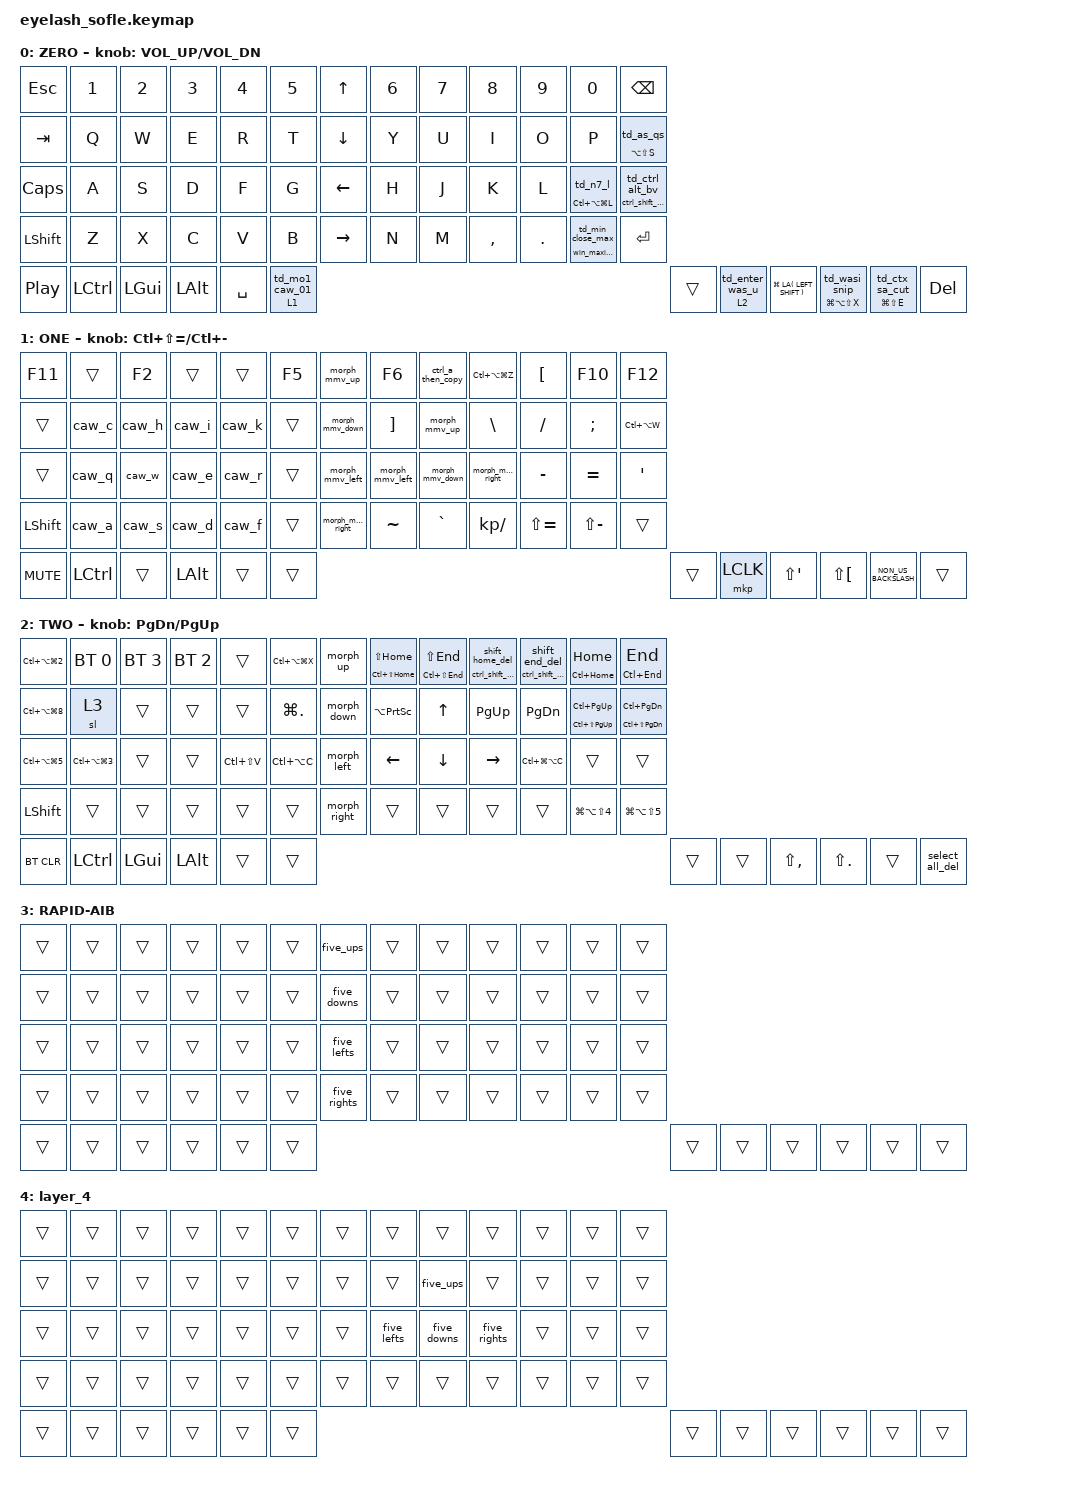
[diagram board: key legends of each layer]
#define ZMK_POINTING_DEFAULT_MOVE_VAL 180   // 85% slower (15% of original 1200)
#define ZMK_POINTING_DEFAULT_SCRL_VAL 25   // 10

// Fixed "quick jump" distance (relative mouse pixels per tap).
// Used when Control is held on the `morph_mmv_*` keys.
// NOTE: `&mmv` takes a single packed uint32: X in high 16 bits, Y in low 16 bits (signed).
// Maximum safe value per axis: ±32767 (signed 16-bit range).
// Doubled from 25000 to 50000, but capped at maximum safe value.
#define ZMK_POINTING_QUICK_JUMP_VAL 32767
// Properly encode signed 16-bit values: mask to 16 bits, then shift for X axis
#define QUICK_JUMP_UP    ((-ZMK_POINTING_QUICK_JUMP_VAL) & 0xFFFF)
#define QUICK_JUMP_DOWN  (( ZMK_POINTING_QUICK_JUMP_VAL) & 0xFFFF)
#define QUICK_JUMP_LEFT  ((((-ZMK_POINTING_QUICK_JUMP_VAL) & 0xFFFF) << 16))
#define QUICK_JUMP_RIGHT (((( ZMK_POINTING_QUICK_JUMP_VAL) & 0xFFFF) << 16))

// Removed: #include <zmk/input/processors.dtsi> - file not found in this ZMK version
// Testing if zip_xy_scaler and zip_scroll_scaler are available without the include
#include <zephyr/dt-bindings/input/input-event-codes.h>
#include <behaviors.dtsi>
#include <dt-bindings/zmk/bt.h>
#include <dt-bindings/zmk/ext_power.h>
#include <dt-bindings/zmk/keys.h>
#include <dt-bindings/zmk/pointing.h>
#include <dt-bindings/zmk/rgb.h>
#include <dt-bindings/zmk/outputs.h>
#include <dt-bindings/zmk/modifiers.h>

// Commented out - mmv_input_listener and msc_input_listener not defined in this ZMK version
// These were defined in input/processors.dtsi which is not available
// &mmv_input_listener { input-processors = <&zip_xy_scaler 2 1>; };
// &msc_input_listener { input-processors = <&zip_scroll_scaler 2 1>; };

// Commented out - &msc node depends on pointing behaviors not available in this ZMK version
// Keeping this enabled causes: undefined node label 'msc' during devicetree processing
// &msc {
//     acceleration-exponent = <1>;      // 0
//     time-to-max-speed-ms = <100>;       // 300
//     delay-ms = <0>;                   // 0
// };

&mmv {
    time-to-max-speed-ms = <500>;
    acceleration-exponent = <1>;
    trigger-period-ms = <16>;
};

/* Sticky layer: rapid directional (AIB) “modifier” — not Alt/Ctrl/Win; uses layer stack only. */
&sl {
    release-after-ms = <2000>;
};

/ {
    macros {
    };

    /* When layer 2 (nav) and sticky layer 3 (rapid) are both on, layer 4 adds 5× arrows on
     * layer-2-only arrow positions without breaking base layer (e.g. U at row1 col8). */
    conditional_layers {
        compatible = "zmk,conditional-layers";
        rapid_nav_l2_l3 {
            if-layers = <2 3>;
            then-layer = <4>;
        };
    };

    behaviors {
        five_rights: five_rights {
            compatible = "zmk,behavior-macro";
            #binding-cells = <0>;
            wait-ms = <8>;       // Gap between key events (was 30 ms)
            tap-ms = <8>;        // Key hold per tap
            bindings = <&kp RIGHT_ARROW &kp RIGHT_ARROW &kp RIGHT_ARROW &kp RIGHT_ARROW &kp RIGHT_ARROW>;
        };

        five_downs: five_downs {
            compatible = "zmk,behavior-macro";
            #binding-cells = <0>;
            wait-ms = <8>;
            tap-ms = <8>;
            bindings = <&kp DOWN_ARROW &kp DOWN_ARROW &kp DOWN_ARROW &kp DOWN_ARROW &kp DOWN_ARROW>;
        };

        five_ups: five_ups {
            compatible = "zmk,behavior-macro";
            #binding-cells = <0>;
            wait-ms = <8>;
            tap-ms = <8>;
            bindings = <&kp UP_ARROW &kp UP_ARROW &kp UP_ARROW &kp UP_ARROW &kp UP_ARROW>;
        };

        five_lefts: five_lefts {
            compatible = "zmk,behavior-macro";
            #binding-cells = <0>;
            wait-ms = <8>;
            tap-ms = <8>;
            bindings = <&kp LEFT_ARROW &kp LEFT_ARROW &kp LEFT_ARROW &kp LEFT_ARROW &kp LEFT_ARROW>;
        };

        ctrl_five_rights: ctrl_five_rights {
            compatible = "zmk,behavior-macro";
            #binding-cells = <0>;
            wait-ms = <8>;
            tap-ms = <8>;
            bindings =
                <&macro_press &kp LCTRL>,
                <&macro_tap &kp RIGHT_ARROW>,
                <&macro_tap &kp RIGHT_ARROW>,
                <&macro_tap &kp RIGHT_ARROW>,
                <&macro_tap &kp RIGHT_ARROW>,
                <&macro_tap &kp RIGHT_ARROW>,
                <&macro_release &kp LCTRL>;
        };

        ctrl_five_lefts: ctrl_five_lefts {
            compatible = "zmk,behavior-macro";
            #binding-cells = <0>;
            wait-ms = <8>;
            tap-ms = <8>;
            bindings =
                <&macro_press &kp LCTRL>,
                <&macro_tap &kp LEFT_ARROW>,
                <&macro_tap &kp LEFT_ARROW>,
                <&macro_tap &kp LEFT_ARROW>,
                <&macro_tap &kp LEFT_ARROW>,
                <&macro_tap &kp LEFT_ARROW>,
                <&macro_release &kp LCTRL>;
        };

        win_alt_shift_comma: win_alt_shift_comma {
            compatible = "zmk,behavior-macro";
            #binding-cells = <0>;
            wait-ms = <30>;
            tap-ms = <30>;
            bindings = <&kp LG(LA(LS(COMMA)))>;
        };

        win_alt_shift_n: win_alt_shift_n {
            compatible = "zmk,behavior-macro";
            #binding-cells = <0>;
            wait-ms = <30>;
            tap-ms = <30>;
            bindings = <&kp LG(LA(LS(N)))>;
        };

        // ht_was1_cabv_td: macro wrappers avoid bare B/V leaking from &kp modifier chords
        was1_tap: was1_tap {
            compatible = "zmk,behavior-macro";
            #binding-cells = <0>;
            wait-ms = <30>;
            tap-ms = <30>;
            bindings = <&kp LG(LA(LS(N1)))>;
        };

        ctrl_alt_b_tap: ctrl_alt_b_tap {
            compatible = "zmk,behavior-macro";
            #binding-cells = <0>;
            wait-ms = <30>;
            tap-ms = <30>;
            bindings =
                <&macro_press &kp LCTRL>,
                <&macro_press &kp LALT>,
                <&macro_tap &kp B>,
                <&macro_release &kp LALT>,
                <&macro_release &kp LCTRL>;
        };

        ctrl_alt_v_tap: ctrl_alt_v_tap {
            compatible = "zmk,behavior-macro";
            #binding-cells = <0>;
            wait-ms = <30>;
            tap-ms = <30>;
            bindings =
                <&macro_press &kp LCTRL>,
                <&macro_press &kp LALT>,
                <&macro_tap &kp V>,
                <&macro_release &kp LALT>,
                <&macro_release &kp LCTRL>;
        };

        ctrl_shift_v_hold: ctrl_shift_v_hold {
            compatible = "zmk,behavior-macro";
            #binding-cells = <0>;
            wait-ms = <30>;
            tap-ms = <30>;
            bindings =
                <&macro_press &kp LCTRL>,
                <&macro_press &kp LSHIFT>,
                <&macro_tap &kp V>,
                <&macro_release &kp LSHIFT>,
                <&macro_release &kp LCTRL>;
        };

        // Windows+Alt+Shift+Arrow macros for Control-modified mouse movement
        was_up: was_up {
            compatible = "zmk,behavior-macro";
            #binding-cells = <0>;
            wait-ms = <30>;
            tap-ms = <30>;
            bindings = <&kp LG(LA(LS(UP_ARROW)))>;
        };

        was_down: was_down {
            compatible = "zmk,behavior-macro";
            #binding-cells = <0>;
            wait-ms = <30>;
            tap-ms = <30>;
            bindings = <&kp LG(LA(LS(DOWN_ARROW)))>;
        };

        was_left: was_left {
            compatible = "zmk,behavior-macro";
            #binding-cells = <0>;
            wait-ms = <30>;
            tap-ms = <30>;
            bindings = <&kp LG(LA(LS(LEFT_ARROW)))>;
        };

        was_right: was_right {
            compatible = "zmk,behavior-macro";
            #binding-cells = <0>;
            wait-ms = <30>;
            tap-ms = <30>;
            bindings = <&kp LG(LA(LS(RIGHT_ARROW)))>;
        };

        ctrl_shift_home_del: ctrl_shift_home_del {
            compatible = "zmk,behavior-macro";
            #binding-cells = <0>;
            wait-ms = <30>;
            tap-ms = <30>;
            bindings = <&kp LC(LS(HOME)) &kp DELETE>;
        };

        ctrl_shift_end_del: ctrl_shift_end_del {
            compatible = "zmk,behavior-macro";
            #binding-cells = <0>;
            wait-ms = <30>;
            tap-ms = <30>;
            bindings = <&kp LC(LS(END)) &kp DELETE>;
        };

        shift_home_del: shift_home_del {
            compatible = "zmk,behavior-macro";
            #binding-cells = <0>;
            wait-ms = <30>;
            tap-ms = <30>;
            bindings = <&kp LS(HOME) &kp DELETE>;
        };

        shift_end_del: shift_end_del {
            compatible = "zmk,behavior-macro";
            #binding-cells = <0>;
            wait-ms = <30>;
            tap-ms = <30>;
            bindings = <&kp LS(END) &kp DELETE>;
        };

        select_all_copy: select_all_copy {
            compatible = "zmk,behavior-macro";
            #binding-cells = <0>;
            label = "SACPY";
            wait-ms = <20>;
            tap-ms = <20>;
            bindings = <&kp LC(A) &kp LC(C)>;
        };

        select_all_cut: select_all_cut {
            compatible = "zmk,behavior-macro";
            #binding-cells = <0>;
            label = "SAX";
            wait-ms = <20>;
            tap-ms = <20>;
            bindings = <&kp LC(A) &kp LC(X)>;
        };

        select_all_del: select_all_del {
            compatible = "zmk,behavior-macro";
            #binding-cells = <0>;
            label = "SADEL";
            wait-ms = <20>;
            tap-ms = <20>;
            bindings = <&kp LC(A) &kp DELETE>;
        };

        /* Mod-morph versions of the 5× arrow macros.
         * No Ctrl held  → 5× LEFT/RIGHT
         * Ctrl held     → Ctrl+5× LEFT/RIGHT
         */

        morph_left: morph_left {
            compatible = "zmk,behavior-mod-morph";
            #binding-cells = <0>;
            bindings = <&five_lefts>, <&five_lefts>;
            mods = <(MOD_LCTL | MOD_RCTL)>;
            keep-mods = <(MOD_LCTL | MOD_RCTL)>;
        };

        morph_right: morph_right {
            compatible = "zmk,behavior-mod-morph";
            #binding-cells = <0>;
            bindings = <&five_rights>, <&five_rights>;
            mods = <(MOD_LCTL | MOD_RCTL)>;
            keep-mods = <(MOD_LCTL | MOD_RCTL)>;
        };

        morph_up: morph_up {
            compatible = "zmk,behavior-mod-morph";
            #binding-cells = <0>;
            bindings = <&five_ups>, <&kp C_NEXT>;
            mods = <(MOD_LCTL | MOD_RCTL)>;
        };

        morph_down: morph_down {
            compatible = "zmk,behavior-mod-morph";
            #binding-cells = <0>;
            bindings = <&five_downs>, <&kp C_PREV>;
            mods = <(MOD_LCTL | MOD_RCTL)>;
        };

        /* Mod-morph for mouse movement keys in layer 1.
         * No Shift held  → mouse movement
         * Shift held     → Windows+Alt+Shift+ArrowKey
         */

        /* One-shot mouse "quick jump" macros (used by the Ctrl morph below). */
        jump_mmv_up: jump_mmv_up {
            compatible = "zmk,behavior-macro";
            #binding-cells = <0>;
            tap-ms = <60>;
            bindings = <&mmv QUICK_JUMP_UP>;
        };

        jump_mmv_down: jump_mmv_down {
            compatible = "zmk,behavior-macro";
            #binding-cells = <0>;
            tap-ms = <60>;
            bindings = <&mmv QUICK_JUMP_DOWN>;
        };

        jump_mmv_left: jump_mmv_left {
            compatible = "zmk,behavior-macro";
            #binding-cells = <0>;
            tap-ms = <60>;
            bindings = <&mmv QUICK_JUMP_LEFT>;
        };

        jump_mmv_right: jump_mmv_right {
            compatible = "zmk,behavior-macro";
            #binding-cells = <0>;
            tap-ms = <60>;
            bindings = <&mmv QUICK_JUMP_RIGHT>;
        };

        /* Ctrl-aware morph used as the "no-Shift" branch:
         * - No Ctrl held  → continuous mouse movement
         * - Ctrl held     → one-shot large pixel jump
         */
        morph_mmv_up_ctrl: morph_mmv_up_ctrl {
            compatible = "zmk,behavior-mod-morph";
            #binding-cells = <0>;
            bindings = <&mmv MOVE_UP>, <&jump_mmv_up>;
            mods = <(MOD_LCTL | MOD_RCTL)>;
            keep-mods = <(MOD_LCTL | MOD_RCTL)>;
        };

        morph_mmv_down_ctrl: morph_mmv_down_ctrl {
            compatible = "zmk,behavior-mod-morph";
            #binding-cells = <0>;
            bindings = <&mmv MOVE_DOWN>, <&jump_mmv_down>;
            mods = <(MOD_LCTL | MOD_RCTL)>;
            keep-mods = <(MOD_LCTL | MOD_RCTL)>;
        };

        morph_mmv_left_ctrl: morph_mmv_left_ctrl {
            compatible = "zmk,behavior-mod-morph";
            #binding-cells = <0>;
            bindings = <&mmv MOVE_LEFT>, <&jump_mmv_left>;
            mods = <(MOD_LCTL | MOD_RCTL)>;
            keep-mods = <(MOD_LCTL | MOD_RCTL)>;
        };

        morph_mmv_right_ctrl: morph_mmv_right_ctrl {
            compatible = "zmk,behavior-mod-morph";
            #binding-cells = <0>;
            bindings = <&mmv MOVE_RIGHT>, <&jump_mmv_right>;
            mods = <(MOD_LCTL | MOD_RCTL)>;
            keep-mods = <(MOD_LCTL | MOD_RCTL)>;
        };

        morph_mmv_up: morph_mmv_up {
            compatible = "zmk,behavior-mod-morph";
            #binding-cells = <0>;
            bindings = <&morph_mmv_up_ctrl>, <&was_up>;
            mods = <(MOD_LSFT | MOD_RSFT)>;
        };

        morph_mmv_down: morph_mmv_down {
            compatible = "zmk,behavior-mod-morph";
            #binding-cells = <0>;
            bindings = <&morph_mmv_down_ctrl>, <&was_down>;
            mods = <(MOD_LSFT | MOD_RSFT)>;
        };

        morph_mmv_left: morph_mmv_left {
            compatible = "zmk,behavior-mod-morph";
            #binding-cells = <0>;
            bindings = <&morph_mmv_left_ctrl>, <&was_left>;
            mods = <(MOD_LSFT | MOD_RSFT)>;
        };

        morph_mmv_right: morph_mmv_right {
            compatible = "zmk,behavior-mod-morph";
            #binding-cells = <0>;
            bindings = <&morph_mmv_right_ctrl>, <&was_right>;
            mods = <(MOD_LSFT | MOD_RSFT)>;
        };

        prev_win: prev_win {
                compatible = "zmk,behavior-macro";
                #binding-cells = <0>;
                label = "PREV_WIN";
                bindings = <&kp LA(TAB)>;
            };
    
        second_prev_win: second_prev_win {
                compatible = "zmk,behavior-macro";
                #binding-cells = <0>;
                label = "SEC_PREV_WIN";
                wait-ms = <30>;
                tap-ms = <30>;
                bindings =
                    <&macro_press &kp LALT>,
                    <&macro_tap &kp TAB>,
                    <&macro_tap &kp TAB>,
                    <&macro_release &kp LALT>;
        };

        meh_press: meh_press {
            compatible = "zmk,behavior-macro";
            #binding-cells = <0>;
            bindings = <&macro_press &kp LCTRL
                        &macro_press &kp LALT
                        &macro_press &kp LSHIFT>;
        };

        caw_press: caw_press {
            compatible = "zmk,behavior-macro";
            #binding-cells = <0>;
            bindings = <&macro_press &kp LCTRL
                        &macro_press &kp LALT
                        &macro_press &kp LGUI>;
        };

        meh_release: meh_release {
            compatible = "zmk,behavior-macro";
            #binding-cells = <0>;
            bindings = <&macro_release &kp LCTRL
                        &macro_release &kp LALT
                        &macro_release &kp LSHIFT>;
        };

        caw_release: caw_release {
            compatible = "zmk,behavior-macro";
            #binding-cells = <0>;
            bindings = <&macro_release &kp LCTRL
                        &macro_release &kp LALT
                        &macro_release &kp LGUI>;
        };

        meh_a: meh_a {
            compatible = "zmk,behavior-macro";
            #binding-cells = <0>;
            label = "MEH_A";
            bindings = <&meh_press &macro_tap &kp A &meh_release>;
        };

        meh_s: meh_s {
            compatible = "zmk,behavior-macro";
            #binding-cells = <0>;
            label = "MEH_S";
            bindings = <&meh_press &macro_tap &kp S &meh_release>;
        };

        meh_d: meh_d {
            compatible = "zmk,behavior-macro";
            #binding-cells = <0>;
            label = "MEH_D";
            bindings = <&meh_press &macro_tap &kp D &meh_release>;
        };

        meh_f: meh_f {
            compatible = "zmk,behavior-macro";
            #binding-cells = <0>;
            label = "MEH_F";
            bindings = <&meh_press &macro_tap &kp F &meh_release>;
        };

        caw_a: caw_a {
            compatible = "zmk,behavior-macro";
            #binding-cells = <0>;
            label = "CAW_A";
            bindings = <&caw_press &macro_tap &kp A &caw_release>;
        };

        caw_s: caw_s {
            compatible = "zmk,behavior-macro";
            #binding-cells = <0>;
            label = "CAW_S";
            bindings = <&caw_press &macro_tap &kp S &caw_release>;
        };

        caw_d: caw_d {
            compatible = "zmk,behavior-macro";
            #binding-cells = <0>;
            label = "CAW_D";
            bindings = <&caw_press &macro_tap &kp D &caw_release>;
        };

        caw_f: caw_f {
            compatible = "zmk,behavior-macro";
            #binding-cells = <0>;
            label = "CAW_F";
            bindings = <&caw_press &macro_tap &kp F &caw_release>;
        };

        caw_q: caw_q {
            compatible = "zmk,behavior-macro";
            #binding-cells = <0>;
            label = "CAW_Q";
            bindings = <&caw_press &macro_tap &kp Q &caw_release>;
        };

        caw_w: caw_w {
            compatible = "zmk,behavior-macro";
            #binding-cells = <0>;
            label = "CAW_W";
            bindings = <&caw_press &macro_tap &kp W &caw_release>;
        };

        caw_e: caw_e {
            compatible = "zmk,behavior-macro";
            #binding-cells = <0>;
            label = "CAW_E";
            bindings = <&caw_press &macro_tap &kp E &caw_release>;
        };

        caw_r: caw_r {
            compatible = "zmk,behavior-macro";
            #binding-cells = <0>;
            label = "CAW_R";
            bindings = <&caw_press &macro_tap &kp R &caw_release>;
        };

        caw_c: caw_c {
            compatible = "zmk,behavior-macro";
            #binding-cells = <0>;
            label = "CAW_C";
            bindings =
                <&macro_tap &caw_q>,
                <&macro_wait_time 300>,
                <&macro_tap &kp LC(LA(LG(X)))>;
        };

        caw_h: caw_h {
            compatible = "zmk,behavior-macro";
            #binding-cells = <0>;
            label = "CAW_H";
            bindings =
                <&macro_tap &caw_w>,
                <&macro_wait_time 300>,
                <&macro_tap &kp LC(LA(LG(X)))>;
        };

        caw_i: caw_i {
            compatible = "zmk,behavior-macro";
            #binding-cells = <0>;
            label = "CAW_I";
            bindings =
                <&macro_tap &caw_e>,
                <&macro_wait_time 300>,
                <&macro_tap &kp LC(LA(LG(X)))>;
        };

        caw_k: caw_k {
            compatible = "zmk,behavior-macro";
            #binding-cells = <0>;
            label = "CAW_K";
            bindings =
                <&macro_tap &caw_r>,
                <&macro_wait_time 300>,
                <&macro_tap &kp LC(LA(LG(X)))>;
        };

        // Tap-dance: 1 tap = Win+Alt+Shift+N0, 2 taps = Ctrl+Alt+Win+4, 3 taps = Ctrl+Alt+Win+7
        td_n7_l: tap_dance_n7_l {
            compatible = "zmk,behavior-tap-dance";
            #binding-cells = <0>;
            tapping-term-ms = <400>;
            bindings = <&kp LG(LA(LS(N0)))>, <&kp LC(LA(LG(N4)))>, <&kp LC(LA(LG(N7)))>;
        };

        // Hold-tap: hold = Ctrl+Alt+Win+L, tap = tap-dance above
        ht_n0_td: hold_tap_n0_td {
            compatible = "zmk,behavior-hold-tap";
            #binding-cells = <2>;
            flavor = "tap-preferred";
            tapping-term-ms = <200>;
            bindings = <&kp>, <&td_n7_l>;
        };

        // Tap-dance: 1× Alt+Shift+Q, 2× Ctrl+Alt+Win+Y (PowerToys bookmarks), 3× Ctrl+Alt+Win+M
        td_as_qs: tap_dance_as_qs {
            compatible = "zmk,behavior-tap-dance";
            #binding-cells = <0>;
            tapping-term-ms = <400>;
            bindings = <&kp LA(LS(Q))>, <&kp LC(LA(LG(Y)))>, <&kp LC(LA(LG(M)))>;
        };

        // Hold-tap: hold = Alt+Shift+S, tap = tap-dance above
        ht_as_w_td: hold_tap_as_w_td {
            compatible = "zmk,behavior-hold-tap";
            #binding-cells = <2>;
            flavor = "tap-preferred";
            tapping-term-ms = <200>;
            bindings = <&kp>, <&td_as_qs>;
        };

        // Tap-dance: 1× prev_win, 2× second_prev_win
        td_prev_sw: tap_dance_prev_win {
            compatible = "zmk,behavior-tap-dance";
            #binding-cells = <0>;
            tapping-term-ms = <400>;
            bindings = <&prev_win>, <&second_prev_win>;
        };

        // Tap-dance: 1× win_alt_shift_comma, 2× win_alt_shift_n
        td_was_comma_n: tap_dance_was_comma_n {
            compatible = "zmk,behavior-tap-dance";
            #binding-cells = <0>;
            tapping-term-ms = <400>;
            bindings = <&win_alt_shift_comma>, <&win_alt_shift_n>;
        };

        // Tap-dance: 1× Win+Alt+Shift+1, 2× Ctrl+Alt+B, 3× Ctrl+Alt+V
        td_ctrl_alt_bv: tap_dance_ctrl_alt_bv {
            compatible = "zmk,behavior-tap-dance";
            #binding-cells = <0>;
            tapping-term-ms = <400>;
            bindings = <&was1_tap>, <&ctrl_alt_b_tap>, <&ctrl_alt_v_tap>;
        };

        // Hold-tap: hold = Ctrl+Shift+V, tap = tap-dance above
        ht_was1_cabv_td: hold_tap_was1_cabv {
            compatible = "zmk,behavior-hold-tap";
            #binding-cells = <2>;
            flavor = "tap-preferred";
            tapping-term-ms = <200>;
            bindings = <&ctrl_shift_v_hold>, <&td_ctrl_alt_bv>;
        };

        // Tap-dance: 1× context-menu, 2× Ctrl+Alt+Win+B, 3× Ctrl+Alt+Win+9
        td_ctx_sa_cut: tap_dance_ctx_sa_cut {
            compatible = "zmk,behavior-tap-dance";
            #binding-cells = <0>;
            tapping-term-ms = <400>;
            bindings = <&kp K_CONTEXT_MENU>, <&kp LC(LA(LG(B)))>, <&kp LC(LA(LG(N9)))>;
        };

        // Hold-tap: hold = LG(LS(E)), tap = td_ctx_sa_cut
        ht_lghome_ctx_td: hold_tap_lghome_ctx {
            compatible = "zmk,behavior-hold-tap";
            #binding-cells = <2>;
            flavor = "tap-preferred";
            tapping-term-ms = <200>;
            bindings = <&kp>, <&td_ctx_sa_cut>;
        };

        // Tap-dance: 1× Win+Alt+Shift+I, 2× Ctrl+Alt+Win+6, 3× Ctrl+Alt+Win+U
        td_wasi_snip: tap_dance_wasi_snip {
            compatible = "zmk,behavior-tap-dance";
            #binding-cells = <0>;
            tapping-term-ms = <400>;
            bindings = <&kp LG(LA(LS(I)))>, <&kp LC(LA(LG(N6)))>, <&kp LC(LA(LG(U)))>;
        };

        // Hold-tap: hold = Win+Alt+Shift+X, tap = td_wasi_snip
        ht_lgshfte_ps_td: hold_tap_lgshfte_ps {
            compatible = "zmk,behavior-hold-tap";
            #binding-cells = <2>;
            flavor = "tap-preferred";
            tapping-term-ms = <200>;
            bindings = <&kp>, <&td_wasi_snip>;
        };

        // Hold-tap: Shift+Home vs Ctrl+Shift+Home
        mt_cshome: modtap_cshome {
            compatible = "zmk,behavior-hold-tap";
            #binding-cells = <2>;
            flavor = "tap-preferred";
            tapping-term-ms = <200>;
            bindings = <&kp>, <&kp>; // use inline params
        };

        // Hold-tap: Shift+End vs Ctrl+Shift+End
        mt_csend: modtap_csend {
            compatible = "zmk,behavior-hold-tap";
            #binding-cells = <2>;
            flavor = "tap-preferred";
            tapping-term-ms = <200>;
            bindings = <&kp>, <&kp>;
        };

        // Hold-tap: Ctrl+Key when held, Key when tapped (generic)
        mt_ctrl: modtap_ctrl_generic {
            compatible = "zmk,behavior-hold-tap";
            #binding-cells = <2>;
            flavor = "tap-preferred";
            tapping-term-ms = <200>;
            bindings = <&kp>, <&kp>;
        };

        // Hold-tap macro versions
        ht_cshome_del: hold_tap_cshome_del {
            compatible = "zmk,behavior-hold-tap";
            #binding-cells = <2>;
            flavor = "tap-preferred";
            tapping-term-ms = <200>;
            bindings = <&ctrl_shift_home_del>, <&shift_home_del>;
        };

        ht_csend_del: hold_tap_csend_del {
            compatible = "zmk,behavior-hold-tap";
            #binding-cells = <2>;
            flavor = "tap-preferred";
            tapping-term-ms = <200>;
            bindings = <&ctrl_shift_end_del>, <&shift_end_del>;
        };

        // Hold-tap: hold = Win+Alt+Shift+6, tap = Alt+F4
        ht_was6_altf4: hold_tap_was6_altf4 {
            compatible = "zmk,behavior-hold-tap";
            #binding-cells = <2>;
            flavor = "tap-preferred";
            tapping-term-ms = <200>;
            bindings = <&kp>, <&kp>;   // keys supplied inline in keymap
        };

        // Tap-dance: 1× Windows + Alt + Shift + U, 2× Windows + H
        td_win_win_h: tap_dance_win_win_h {
            compatible = "zmk,behavior-tap-dance";
            #binding-cells = <0>;
            tapping-term-ms = <200>;
            bindings = <&kp LG(LA(LS(U)))>, <&kp LG(H)>;
        };

        // Hold-tap: hold = layer 2, tap = Windows tap-dance
        ht_mo2_win_td: hold_tap_mo2_win {
            compatible = "zmk,behavior-hold-tap";
            #binding-cells = <2>;
            flavor = "tap-preferred";
            tapping-term-ms = <200>;
            bindings = <&mo>, <&td_win_win_h>;
        };

        // Tap-dance: 1× Windows+Alt+Shift+U, 2× Windows+Alt+Shift+Y
        td_enter_was_u: tap_dance_enter_was_u {
            compatible = "zmk,behavior-tap-dance";
            #binding-cells = <0>;
            tapping-term-ms = <400>;
            bindings = <&kp LG(LA(LS(U)))>, <&kp LG(LA(LS(Y)))>;
        };

        // Hold-tap: hold = layer 2, tap = Windows+Alt+Shift+U/Y tap-dance
        ht_mo2_enter_was_u: hold_tap_mo2_enter_was_u {
            compatible = "zmk,behavior-hold-tap";
            #binding-cells = <2>;
            flavor = "tap-preferred";
            tapping-term-ms = <200>;
            bindings = <&mo>, <&td_enter_was_u>;
        };

        // Tap-dance: 1× Ctrl+Alt+Win+0, 2× Ctrl+Alt+Win+1
        td_mo1_caw_01: tap_dance_mo1_caw_01 {
            compatible = "zmk,behavior-tap-dance";
            #binding-cells = <0>;
            tapping-term-ms = <400>;
            bindings = <&kp LC(LA(LG(N0)))>, <&kp LC(LA(LG(N1)))>;
        };

        // Hold-tap: hold = layer 1, tap = Ctrl+Alt+Win+0/1 tap-dance
        ht_mo1_caw01_td: hold_tap_mo1_caw01 {
            compatible = "zmk,behavior-hold-tap";
            #binding-cells = <2>;
            flavor = "tap-preferred";
            tapping-term-ms = <200>;
            bindings = <&mo>, <&td_mo1_caw_01>;
        };

        // Tap-dance: 1× minimize, 2× close (Alt+F4)
        td_min_close_max: tap_dance_min_close_max {
            compatible = "zmk,behavior-tap-dance";
            #binding-cells = <0>;
            tapping-term-ms = <400>;
            bindings = <&kp LG(LA(LS(N6)))>, <&kp LA(F4)>;
        };

        // Macro: maximize via host — Ctrl+Alt+Win+V (WindowManagement.ahk WM_MaximizeActiveWindow)
        win_maximize: win_maximize {
            compatible = "zmk,behavior-macro";
            #binding-cells = <0>;
            bindings = <&kp LC(LA(LG(V)))>;
        };

        // Hold-tap: hold = maximize (AHK WinMaximize / SC_MAXIMIZE), tap = minimize/close tap-dance
        ht_min_close_max: hold_tap_min_close_max {
            compatible = "zmk,behavior-hold-tap";
            #binding-cells = <2>;
            flavor = "tap-preferred";
            tapping-term-ms = <200>;
            bindings = <&win_maximize &td_min_close_max>;
        };

        // Clipboard signal injection macros for MacroDroid
        // Each macro includes a clipboard reset phase (space) followed by the command phase
        // This ensures MacroDroid detects consecutive activations of the same shortcut
        // Added delays between operations to ensure reliable execution
        mcmd_01: mcmd_01 {
            compatible = "zmk,behavior-macro";
            #binding-cells = <0>;
            wait-ms = <50>;
            tap-ms = <50>;
            bindings = 
                <&macro_tap &kp LG(B)>,
                <&macro_wait_time 300>,
                <&macro_tap &kp LC(E)>,
                <&macro_wait_time 300>,
                <&macro_tap &kp SPACE>,
                <&macro_wait_time 50>,
                <&macro_tap &kp LS(HOME)>,
                <&macro_wait_time 50>,
                <&macro_tap &kp LC(C)>,
                <&macro_wait_time 50>,
                <&macro_tap &kp BACKSPACE>,
                <&macro_wait_time 100>,
                <&macro_press &kp LSHIFT>,
                <&macro_tap &kp N3>,
                <&macro_release &kp LSHIFT>,
                <&macro_wait_time 50>,
                <&macro_press &kp LSHIFT>,
                <&macro_tap &kp N3>,
                <&macro_release &kp LSHIFT>,
                <&macro_wait_time 30>,
                <&macro_tap &kp M>,
                <&macro_wait_time 30>,
                <&macro_tap &kp C>,
                <&macro_wait_time 30>,
                <&macro_tap &kp M>,
                <&macro_wait_time 30>,
                <&macro_tap &kp D>,
                <&macro_wait_time 30>,
                <&macro_tap &kp LS(MINUS)>,
                <&macro_wait_time 30>,
                <&macro_tap &kp N0>,
                <&macro_wait_time 30>,
                <&macro_tap &kp N1>,
                <&macro_wait_time 30>,
                <&macro_press &kp LSHIFT>,
                <&macro_tap &kp N3>,
                <&macro_release &kp LSHIFT>,
                <&macro_wait_time 50>,
                <&macro_press &kp LSHIFT>,
                <&macro_tap &kp N3>,
                <&macro_release &kp LSHIFT>,
                <&macro_wait_time 50>,
                <&macro_tap &kp LS(HOME)>,
                <&macro_wait_time 50>,
                <&macro_tap &kp LC(C)>,
                <&macro_wait_time 50>,
                <&macro_tap &kp BACKSPACE>;
        };

        mcmd_02: mcmd_02 {
            compatible = "zmk,behavior-macro";
            #binding-cells = <0>;
            wait-ms = <50>;
            tap-ms = <50>;
            bindings = 
                <&macro_tap &kp LG(B)>,
                <&macro_wait_time 300>,
                <&macro_tap &kp LC(E)>,
                <&macro_wait_time 300>,
                <&macro_tap &kp SPACE>,
                <&macro_wait_time 50>,
                <&macro_tap &kp LS(HOME)>,
                <&macro_wait_time 50>,
                <&macro_tap &kp LC(C)>,
                <&macro_wait_time 50>,
                <&macro_tap &kp BACKSPACE>,
                <&macro_wait_time 100>,
                <&macro_press &kp LSHIFT>,
                <&macro_tap &kp N3>,
                <&macro_release &kp LSHIFT>,
                <&macro_wait_time 50>,
                <&macro_press &kp LSHIFT>,
                <&macro_tap &kp N3>,
                <&macro_release &kp LSHIFT>,
                <&macro_wait_time 30>,
                <&macro_tap &kp M>,
                <&macro_wait_time 30>,
                <&macro_tap &kp C>,
                <&macro_wait_time 30>,
                <&macro_tap &kp M>,
                <&macro_wait_time 30>,
                <&macro_tap &kp D>,
                <&macro_wait_time 30>,
                <&macro_tap &kp LS(MINUS)>,
                <&macro_wait_time 30>,
                <&macro_tap &kp N0>,
                <&macro_wait_time 30>,
                <&macro_tap &kp N2>,
                <&macro_wait_time 30>,
                <&macro_press &kp LSHIFT>,
                <&macro_tap &kp N3>,
                <&macro_release &kp LSHIFT>,
                <&macro_wait_time 50>,
                <&macro_press &kp LSHIFT>,
                <&macro_tap &kp N3>,
                <&macro_release &kp LSHIFT>,
                <&macro_wait_time 50>,
                <&macro_tap &kp LS(HOME)>,
                <&macro_wait_time 50>,
                <&macro_tap &kp LC(C)>,
                <&macro_wait_time 50>,
                <&macro_tap &kp BACKSPACE>;
        };

        mcmd_03: mcmd_03 {
            compatible = "zmk,behavior-macro";
            #binding-cells = <0>;
            wait-ms = <50>;
            tap-ms = <50>;
            bindings = 
                <&macro_tap &kp LG(B)>,
                <&macro_wait_time 300>,
                <&macro_tap &kp LC(E)>,
                <&macro_wait_time 300>,
                <&macro_tap &kp SPACE>,
                <&macro_wait_time 50>,
                <&macro_tap &kp LS(HOME)>,
                <&macro_wait_time 50>,
                <&macro_tap &kp LC(C)>,
                <&macro_wait_time 50>,
                <&macro_tap &kp BACKSPACE>,
                <&macro_wait_time 100>,
                <&macro_press &kp LSHIFT>,
                <&macro_tap &kp N3>,
                <&macro_release &kp LSHIFT>,
                <&macro_wait_time 50>,
                <&macro_press &kp LSHIFT>,
                <&macro_tap &kp N3>,
                <&macro_release &kp LSHIFT>,
                <&macro_wait_time 30>,
                <&macro_tap &kp M>,
                <&macro_wait_time 30>,
                <&macro_tap &kp C>,
                <&macro_wait_time 30>,
                <&macro_tap &kp M>,
                <&macro_wait_time 30>,
                <&macro_tap &kp D>,
                <&macro_wait_time 30>,
                <&macro_tap &kp LS(MINUS)>,
                <&macro_wait_time 30>,
                <&macro_tap &kp N0>,
                <&macro_wait_time 30>,
                <&macro_tap &kp N3>,
                <&macro_wait_time 30>,
                <&macro_press &kp LSHIFT>,
                <&macro_tap &kp N3>,
                <&macro_release &kp LSHIFT>,
                <&macro_wait_time 50>,
                <&macro_press &kp LSHIFT>,
                <&macro_tap &kp N3>,
                <&macro_release &kp LSHIFT>,
                <&macro_wait_time 50>,
                <&macro_tap &kp LS(HOME)>,
                <&macro_wait_time 50>,
                <&macro_tap &kp LC(C)>,
                <&macro_wait_time 50>,
                <&macro_tap &kp BACKSPACE>;
        };

        mcmd_04: mcmd_04 {
            compatible = "zmk,behavior-macro";
            #binding-cells = <0>;
            wait-ms = <50>;
            tap-ms = <50>;
            bindings = 
                <&macro_tap &kp LG(B)>,
                <&macro_wait_time 300>,
                <&macro_tap &kp LC(E)>,
                <&macro_wait_time 300>,
                <&macro_tap &kp SPACE>,
                <&macro_wait_time 50>,
                <&macro_tap &kp LS(HOME)>,
                <&macro_wait_time 50>,
                <&macro_tap &kp LC(C)>,
                <&macro_wait_time 50>,
                <&macro_tap &kp BACKSPACE>,
                <&macro_wait_time 100>,
                <&macro_press &kp LSHIFT>,
                <&macro_tap &kp N3>,
                <&macro_release &kp LSHIFT>,
                <&macro_wait_time 50>,
                <&macro_press &kp LSHIFT>,
                <&macro_tap &kp N3>,
                <&macro_release &kp LSHIFT>,
                <&macro_wait_time 30>,
                <&macro_tap &kp M>,
                <&macro_wait_time 30>,
                <&macro_tap &kp C>,
                <&macro_wait_time 30>,
                <&macro_tap &kp M>,
                <&macro_wait_time 30>,
                <&macro_tap &kp D>,
                <&macro_wait_time 30>,
                <&macro_tap &kp LS(MINUS)>,
                <&macro_wait_time 30>,
                <&macro_tap &kp N0>,
                <&macro_wait_time 30>,
                <&macro_tap &kp N4>,
                <&macro_wait_time 30>,
                <&macro_press &kp LSHIFT>,
                <&macro_tap &kp N3>,
                <&macro_release &kp LSHIFT>,
                <&macro_wait_time 50>,
                <&macro_press &kp LSHIFT>,
                <&macro_tap &kp N3>,
                <&macro_release &kp LSHIFT>,
                <&macro_wait_time 50>,
                <&macro_tap &kp LS(HOME)>,
                <&macro_wait_time 50>,
                <&macro_tap &kp LC(C)>,
                <&macro_wait_time 50>,
                <&macro_tap &kp BACKSPACE>;
        };

        mcmd_05: mcmd_05 {
            compatible = "zmk,behavior-macro";
            #binding-cells = <0>;
            wait-ms = <50>;
            tap-ms = <50>;
            bindings = 
                <&macro_tap &kp LG(B)>,
                <&macro_wait_time 300>,
                <&macro_tap &kp LC(E)>,
                <&macro_wait_time 300>,
                <&macro_tap &kp SPACE>,
                <&macro_wait_time 50>,
                <&macro_tap &kp LS(HOME)>,
                <&macro_wait_time 50>,
                <&macro_tap &kp LC(C)>,
                <&macro_wait_time 50>,
                <&macro_tap &kp BACKSPACE>,
                <&macro_wait_time 100>,
                <&macro_press &kp LSHIFT>,
                <&macro_tap &kp N3>,
                <&macro_release &kp LSHIFT>,
                <&macro_wait_time 50>,
                <&macro_press &kp LSHIFT>,
                <&macro_tap &kp N3>,
                <&macro_release &kp LSHIFT>,
                <&macro_wait_time 30>,
                <&macro_tap &kp M>,
                <&macro_wait_time 30>,
                <&macro_tap &kp C>,
                <&macro_wait_time 30>,
                <&macro_tap &kp M>,
                <&macro_wait_time 30>,
                <&macro_tap &kp D>,
                <&macro_wait_time 30>,
                <&macro_tap &kp LS(MINUS)>,
                <&macro_wait_time 30>,
                <&macro_tap &kp N0>,
                <&macro_wait_time 30>,
                <&macro_tap &kp N5>,
                <&macro_wait_time 30>,
                <&macro_press &kp LSHIFT>,
                <&macro_tap &kp N3>,
                <&macro_release &kp LSHIFT>,
                <&macro_wait_time 50>,
                <&macro_press &kp LSHIFT>,
                <&macro_tap &kp N3>,
                <&macro_release &kp LSHIFT>,
                <&macro_wait_time 50>,
                <&macro_tap &kp LS(HOME)>,
                <&macro_wait_time 50>,
                <&macro_tap &kp LC(C)>,
                <&macro_wait_time 50>,
                <&macro_tap &kp BACKSPACE>;
        };

        mcmd_06: mcmd_06 {
            compatible = "zmk,behavior-macro";
            #binding-cells = <0>;
            wait-ms = <50>;
            tap-ms = <50>;
            bindings = 
                <&macro_tap &kp LG(B)>,
                <&macro_wait_time 300>,
                <&macro_tap &kp LC(E)>,
                <&macro_wait_time 300>,
                <&macro_tap &kp SPACE>,
                <&macro_wait_time 50>,
                <&macro_tap &kp LS(HOME)>,
                <&macro_wait_time 50>,
                <&macro_tap &kp LC(C)>,
                <&macro_wait_time 50>,
                <&macro_tap &kp BACKSPACE>,
                <&macro_wait_time 100>,
                <&macro_press &kp LSHIFT>,
                <&macro_tap &kp N3>,
                <&macro_release &kp LSHIFT>,
                <&macro_wait_time 50>,
                <&macro_press &kp LSHIFT>,
                <&macro_tap &kp N3>,
                <&macro_release &kp LSHIFT>,
                <&macro_wait_time 30>,
                <&macro_tap &kp M>,
                <&macro_wait_time 30>,
                <&macro_tap &kp C>,
                <&macro_wait_time 30>,
                <&macro_tap &kp M>,
                <&macro_wait_time 30>,
                <&macro_tap &kp D>,
                <&macro_wait_time 30>,
                <&macro_tap &kp LS(MINUS)>,
                <&macro_wait_time 30>,
                <&macro_tap &kp N0>,
                <&macro_wait_time 30>,
                <&macro_tap &kp N6>,
                <&macro_wait_time 30>,
                <&macro_press &kp LSHIFT>,
                <&macro_tap &kp N3>,
                <&macro_release &kp LSHIFT>,
                <&macro_wait_time 50>,
                <&macro_press &kp LSHIFT>,
                <&macro_tap &kp N3>,
                <&macro_release &kp LSHIFT>,
                <&macro_wait_time 50>,
                <&macro_tap &kp LS(HOME)>,
                <&macro_wait_time 50>,
                <&macro_tap &kp LC(C)>,
                <&macro_wait_time 50>,
                <&macro_tap &kp BACKSPACE>;
        };

        /* Select all (Ctrl+A), then copy (Ctrl+C). */
        ctrl_a_then_copy: ctrl_a_then_copy {
            compatible = "zmk,behavior-macro";
            #binding-cells = <0>;
            wait-ms = <8>;
            tap-ms = <8>;
            bindings = <&kp LC(A) &macro_wait_time 20 &kp LC(C)>;
        };

    };


    keymap {
        compatible = "zmk,keymap";

        layer0 {
            bindings = <
&kp ESC     &kp N1     &kp N2        &kp N3        &kp N4  &kp N5       &kp UP_ARROW     &kp N6     &kp N7     &kp N8     &kp N9           &kp N0      &kp BACKSPACE
&kp TAB     &kp Q      &kp W         &kp E         &kp R   &kp T        &kp DOWN_ARROW   &kp Y      &kp U      &kp I      &kp O            &kp P       &ht_as_w_td LA(LS(S)) 0
&kp CAPS    &kp A      &kp S         &kp D         &kp F   &kp G        &kp LEFT_ARROW   &kp H      &kp J      &kp K      &kp L            &ht_n0_td LC(LA(LG(L))) 0    &ht_was1_cabv_td 0 0
&kp LSHFT   &kp Z      &kp X         &kp C         &kp V   &kp B        &kp RIGHT_ARROW  &kp N      &kp M      &kp COMMA  &kp DOT          &ht_min_close_max 0 0    &kp ENTER
&kp C_PLAY_PAUSE  &kp LCTRL  &kp LEFT_GUI  &kp LEFT_ALT  &kp SPACE   &ht_mo1_caw01_td 1 0    &trans        &ht_mo2_enter_was_u 2 0  &kp LG( LA( LEFT_SHIFT ) )  &ht_lgshfte_ps_td LG(LA(LS(X))) 0      &ht_lghome_ctx_td LG(LS(E)) 0  &kp DELETE
            >;

            sensor-bindings = <&inc_dec_kp C_VOLUME_UP C_VOL_DN>;
            display-name = "ZERO";
        }; 

        layer_1 {
            bindings = <
&kp F11   &trans           &kp F2          &trans           &trans           &kp F5             &morph_mmv_up     &kp F6           &ctrl_a_then_copy           &kp LC(LA(LG(Z)))      &kp LEFT_BRACKET     &kp F10           &kp F12
&trans      &caw_c        &caw_h          &caw_i           &caw_k           &trans           &morph_mmv_down   &kp RIGHT_BRACKET        &morph_mmv_up          &kp BACKSLASH      &kp FSLH   &kp SEMI         &kp LC(LA(W))
&trans      &caw_q        &caw_w          &caw_e           &caw_r           &trans           &morph_mmv_left   &morph_mmv_left        &morph_mmv_down         &morph_mmv_right    &kp MINUS  &kp EQUAL  &kp APOS
&kp LSHFT      &caw_a  &caw_s  &caw_d  &caw_f  &trans    &morph_mmv_right  &kp TILDE  &kp GRAVE  &kp KP_DIVIDE  &kp LS(EQUAL)    &kp LS(MINUS)           &trans
&kp C_MUTE  &kp LCTRL           &trans          &kp LEFT_ALT     &trans           &trans             &trans        &mkp LCLK  &kp LS(APOS) &kp LS(LEFT_BRACKET)      &kp NON_US_BACKSLASH     &trans
            >;

            display-name = "ONE";
            sensor-bindings = <&inc_dec_kp LC(LS(EQUAL)) LC(MINUS)>;
        };

        layer_2 {
            bindings = <
&kp LC(LA(LG(N2))) &bt BT_SEL 0  &bt BT_SEL 3    &bt BT_SEL 2  &trans  &kp LC(LA(LG(X)))    &morph_up     &mt_cshome LC(LS(HOME)) LS(HOME)  &mt_csend LC(LS(END)) LS(END)  &ht_cshome_del 0 0  &ht_csend_del 0 0     &mt_ctrl LC(HOME) HOME      &mt_ctrl LC(END) END
&kp LC(LA(LG(N8)))      &sl 3    &trans  &trans        &trans        &kp LG(DOT)          &morph_down   &kp LA(PRINTSCREEN)  &kp UP_ARROW  &kp PG_UP      &kp PG_DN      &mt_ctrl LC(LS(PG_UP)) LC(PG_UP)    &mt_ctrl LC(LS(PG_DN)) LC(PG_DN)
&kp LC(LA(LG(N5)))     &kp LC(LA(LG(N3)))  &trans    &trans        &kp LC(LS(V))        &kp LC(LA(C))          &morph_left   &kp LEFT_ARROW  &kp DOWN_ARROW  &kp RIGHT_ARROW      &kp LC(LG(LA(C)))     &trans     &trans
&kp LSHIFT     &trans  &trans    &trans        &trans        &trans          &morph_right  &trans  &trans  &trans  &trans  &kp LG(LA(LS(N4)))  &kp LG(LA(LS(N5)))
&bt BT_CLR     &kp LCTRL        &kp LEFT_GUI  &kp LEFT_ALT  &trans  &trans  &trans  &trans  &kp LS(COMMA)  &kp LS(DOT)      &trans     &select_all_del
            >;

            display-name = "TWO";
            sensor-bindings = <&inc_dec_kp PG_DN PG_UP>;
        };

        /* Sticky layer 3: rapid directional (5× HID arrows). Thumb column matches layer 0 arrows. */
        layer_3 {
            bindings = <
&trans  &trans  &trans  &trans  &trans  &trans    &five_ups     &trans  &trans  &trans  &trans  &trans  &trans
&trans  &trans  &trans  &trans  &trans  &trans    &five_downs   &trans  &trans  &trans  &trans  &trans  &trans
&trans  &trans  &trans  &trans  &trans  &trans    &five_lefts   &trans  &trans  &trans  &trans  &trans  &trans
&trans  &trans  &trans  &trans  &trans  &trans    &five_rights  &trans  &trans  &trans  &trans  &trans  &trans
&trans  &trans  &trans  &trans  &trans  &trans    &trans        &trans  &trans  &trans  &trans  &trans
            >;

            display-name = "RAPID-AIB";
        };

        /* Auto with layer 2+3: layer-2-only arrow positions → 5× (see conditional_layers). */
        layer_4 {
            bindings = <
&trans  &trans  &trans  &trans  &trans  &trans    &trans  &trans  &trans  &trans  &trans  &trans  &trans
&trans  &trans  &trans  &trans  &trans  &trans    &trans  &trans  &five_ups  &trans  &trans  &trans  &trans
&trans  &trans  &trans  &trans  &trans  &trans    &trans  &five_lefts  &five_downs  &five_rights  &trans  &trans  &trans
&trans  &trans  &trans  &trans  &trans  &trans    &trans  &trans  &trans  &trans  &trans  &trans  &trans
&trans  &trans  &trans  &trans  &trans  &trans    &trans  &trans  &trans  &trans  &trans  &trans
            >;
        };
    };
};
